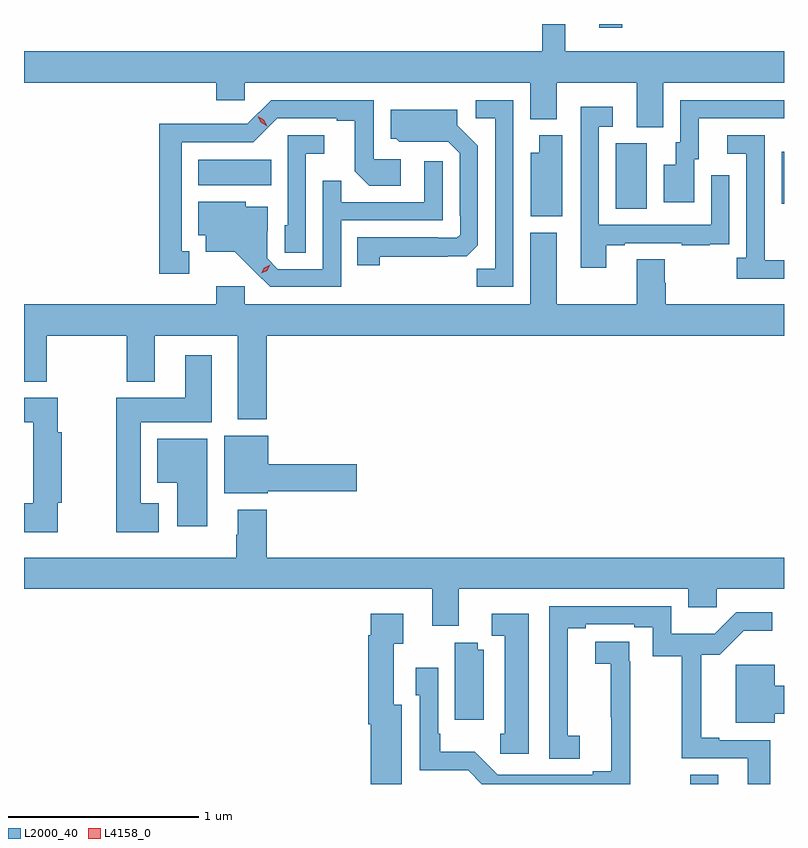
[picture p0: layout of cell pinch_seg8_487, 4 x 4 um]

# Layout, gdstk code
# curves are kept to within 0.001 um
import gdstk
lib = gdstk.Library(unit=1e-6, precision=1e-09)
def R(c, l, rs):  # rectangles x0, y0, x1, y1
    for r in rs: c.add(gdstk.rectangle(r[:2], r[2:], *l))
def P(c, l, *ps):  # polygons
    for p in ps: c.add(gdstk.Polygon(p, *l))
L2000_40 = (2000, 40)
L4158_0 = (4158, 0)

pinch_seg8_487 = lib.new_cell('pinch_seg8_487')
R(pinch_seg8_487, L2000_40, [(222.766,1130.124,222.913,1130.174), (222.374,1133.152,222.538,1133.496), (223.247,1133.177,223.26,1133.452), (220.178,1133.276,220.562,1133.41), (222.287,1134.105,222.409,1134.124)])
P(pinch_seg8_487, L2000_40, [(222.625,1133.816),(223.26,1133.816),(223.26,1133.98),(222.109,1133.98),(222.109,1134.124),(221.988,1134.124),(221.988,1133.98),(219.26,1133.98),(219.26,1133.816),(220.271,1133.816),(220.271,1133.723),(220.422,1133.723),(220.422,1133.816),(221.924,1133.816),(221.924,1133.624),(222.064,1133.624),(222.064,1133.816),(222.485,1133.816),(222.485,1133.581),(222.625,1133.581)],
  [(222.787,1133.412),(222.811,1133.412),(222.811,1133.628),(223.26,1133.628),(223.26,1133.724),(222.714,1133.724),(222.714,1133.502),(222.689,1133.502),(222.689,1133.383),(222.626,1133.383),(222.626,1133.187),(222.787,1133.187)],
  [(221.835,1133.724),(221.637,1133.724),(221.637,1133.628),(221.739,1133.628),(221.739,1132.835),(221.644,1132.835),(221.644,1132.74),(221.835,1132.74)],
  [(220.129,1132.929),(220.09,1132.929),(220.09,1133.502),(220.467,1133.502),(220.593,1133.628),(220.907,1133.628),(220.907,1133.616),(221.001,1133.616),(221.001,1133.348),(221.077,1133.272),(221.242,1133.272),(221.242,1133.412),(221.1,1133.412),(221.1,1133.724),(220.56,1133.724),(220.434,1133.598),(220.212,1133.598),(220.212,1133.6),(219.972,1133.6),(219.972,1132.809),(220.129,1132.809)],
  [(222.325,1132.959),(222.421,1132.959),(222.421,1132.971),(222.721,1132.971),(222.721,1132.959),(222.869,1132.959),(222.869,1132.965),(222.971,1132.965),(222.971,1133.074),(222.972,1133.074),(222.972,1133.329),(222.876,1133.329),(222.876,1133.067),(222.285,1133.067),(222.285,1133.583),(222.358,1133.583),(222.358,1133.689),(222.189,1133.689),(222.189,1132.842),(222.325,1132.842)],
  [(221.133,1132.9),(221.59,1132.901),(221.649,1132.96),(221.649,1133.482),(221.539,1133.592),(221.539,1133.674),(221.189,1133.674),(221.189,1133.52),(221.22,1133.52),(221.236,1133.504),(221.493,1133.505),(221.553,1133.445),(221.553,1133.116),(221.556,1133.116),(221.556,1133.016),(221.538,1132.998),(221.438,1132.998),(221.438,1133.001),(221.014,1133.001),(221.014,1132.854),(221.133,1132.854)],
  [(222.094,1133.539),(221.972,1133.539),(221.972,1133.446),(221.927,1133.446),(221.927,1133.111),(222.094,1133.111)],
  [(220.743,1133.441),(220.84,1133.441),(220.84,1133.538),(220.647,1133.538),(220.647,1133.064),(220.632,1133.064),(220.632,1132.921),(220.743,1132.921)],
  [(223.26,1132.881),(223.159,1132.881),(223.159,1133.081),(223.158,1133.081),(223.158,1133.538),(222.96,1133.538),(222.96,1133.442),(223.062,1133.442),(223.062,1132.894),(223.011,1132.894),(223.011,1132.784),(223.26,1132.784)],
  [(220.929,1133.091),(221.463,1133.091),(221.463,1133.401),(221.367,1133.401),(221.367,1133.187),(220.931,1133.187),(220.931,1133.3),(220.833,1133.3),(220.833,1132.833),(220.596,1132.833),(220.539,1132.89),(220.539,1133.032),(220.543,1133.032),(220.543,1133.161),(220.428,1133.161),(220.428,1133.188),(220.178,1133.188),(220.178,1133.012),(220.217,1133.012),(220.217,1132.925),(220.369,1132.925),(220.556,1132.74),(220.929,1132.74)],
  [(220.538,1132.484),(223.26,1132.484),(223.26,1132.648),(222.638,1132.648),(222.638,1132.761),(222.633,1132.761),(222.633,1132.886),(222.485,1132.886),(222.485,1132.648),(222.064,1132.648),(222.064,1133.026),(221.924,1133.026),(221.924,1132.648),(220.422,1132.648),(220.422,1132.744),(220.271,1132.744),(220.271,1132.648),(219.26,1132.648),(219.26,1132.241),(219.381,1132.241),(219.381,1132.484),(219.802,1132.484),(219.802,1132.241),(219.949,1132.241),(219.949,1132.484),(220.385,1132.484),(220.385,1132.043),(220.538,1132.043)],
  [(219.97,1131.601),(219.874,1131.601),(219.874,1132.028),(220.249,1132.028),(220.249,1132.381),(220.109,1132.381),(220.109,1132.156),(219.745,1132.156),(219.745,1131.449),(219.97,1131.449)],
  [(219.438,1131.603),(219.459,1131.603),(219.459,1131.975),(219.438,1131.975),(219.438,1132.156),(219.26,1132.156),(219.26,1132.028),(219.308,1132.028),(219.308,1131.601),(219.26,1131.601),(219.26,1131.449),(219.438,1131.449)],
  [(220.542,1131.664),(221.011,1131.664),(221.011,1131.806),(220.546,1131.806),(220.546,1131.958),(220.313,1131.958),(220.313,1131.653),(220.542,1131.653)],
  [(220.225,1131.94),(219.962,1131.94),(219.962,1131.71),(220.067,1131.71),(220.067,1131.48),(220.225,1131.48)],
  [(221.548,1131.152),(222.755,1131.152),(222.755,1131.054),(222.907,1131.054),(222.907,1131.152),(223.26,1131.152),(223.26,1131.316),(220.538,1131.316),(220.538,1131.568),(220.385,1131.568),(220.385,1131.437),(220.378,1131.437),(220.378,1131.316),(219.26,1131.316),(219.26,1131.152),(221.408,1131.152),(221.408,1130.958),(221.548,1130.958)],
  [(223.187,1130.355),(222.919,1130.355),(222.919,1130.368),(222.824,1130.368),(222.824,1130.805),(222.923,1130.805),(223.049,1130.93),(223.198,1130.93),(223.198,1131.027),(223.008,1131.027),(222.895,1130.914),(222.666,1130.914),(222.666,1131.06),(222.024,1131.06),(222.024,1130.257),(222.184,1130.257),(222.184,1130.377),(222.123,1130.377),(222.123,1130.681),(222.121,1130.681),(222.121,1130.944),(222.217,1130.944),(222.217,1130.964),(222.473,1130.964),(222.473,1130.95),(222.57,1130.95),(222.57,1130.797),(222.721,1130.797),(222.721,1130.259),(223.07,1130.259),(223.07,1130.124),(223.187,1130.124)],
  [(221.917,1131.019),(221.721,1131.019),(221.721,1130.904),(221.789,1130.904),(221.789,1130.388),(221.767,1130.388),(221.767,1130.283),(221.917,1130.283)],
  [(221.248,1130.542),(221.206,1130.542),(221.206,1130.863),(221.257,1130.863),(221.257,1131.019),(221.084,1131.019),(221.084,1130.906),(221.072,1130.906),(221.072,1130.438),(221.084,1130.438),(221.084,1130.124),(221.248,1130.124)],
  [(222.452,1130.771),(222.446,1130.771),(222.446,1130.873),(222.267,1130.873),(222.267,1130.758),(222.349,1130.758),(222.35,1130.192),(222.254,1130.192),(222.254,1130.172),(221.754,1130.172),(221.633,1130.293),(221.452,1130.293),(221.452,1130.389),(221.439,1130.389),(221.439,1130.737),(221.322,1130.737),(221.322,1130.592),(221.343,1130.592),(221.343,1130.196),(221.598,1130.196),(221.67,1130.124),(222.452,1130.124)],
  [(221.68,1130.83),(221.648,1130.83),(221.648,1130.867),(221.528,1130.867),(221.528,1130.463),(221.68,1130.463)],
  [(223.21,1130.495),(223.26,1130.495),(223.26,1130.642),(223.21,1130.642),(223.21,1130.752),(223.007,1130.752),(223.007,1130.447),(223.21,1130.447)])
P(pinch_seg8_487, L4158_0, [(220.539,1133.587),(220.507,1133.606),(220.49,1133.639),(220.49,1133.639),(220.49,1133.639),(220.521,1133.62),(220.539,1133.587),(220.539,1133.587)],
  [(220.508,1132.812),(220.508,1132.812),(220.525,1132.841),(220.556,1132.856),(220.556,1132.856),(220.556,1132.856),(220.539,1132.826),(220.508,1132.812)])

lib.write_gds('pinch_seg8_487.gds')
